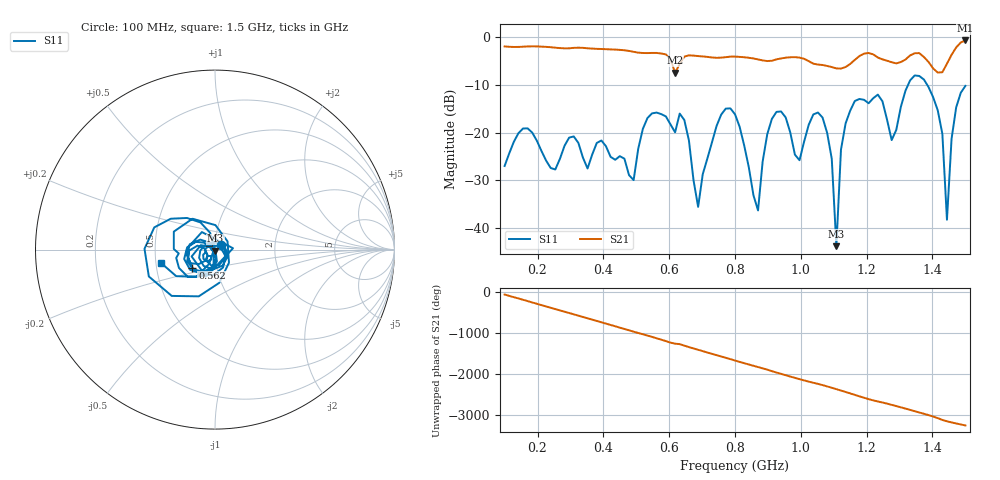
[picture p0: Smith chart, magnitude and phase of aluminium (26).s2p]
! NanoVNA-App
! Date: 2025-09-25 14:55:28
! Start: 100MHz Stop: 1,5GHz Points: 101
! S-Parameter data: F S11 S21 S12 S22
# Hz S RI R 50
!  Frequency  S11_Real  S11_Imag  S21_Real  S21_Imag  S12_Real  S12_Imag  S22_Real  S22_Imag
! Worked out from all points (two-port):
!   101 points, 100 MHz to 1.5 GHz, reference 50 ohm
!   highest |S21| = -0.66 dB at 1.5 GHz (marker M1); lowest = -7.4 dB at 618 MHz (marker M2)
!   |S21| within 3 dB of the highest: start of sweep to 591 MHz; 1.186 GHz to 1.221 GHz (35.92 MHz wide, 2.98 % of centre) (the widest 2 of 4)
!   lowest |S11| = -43.8 dB at 1.108 GHz (marker M3), VSWR 1.01, Z = 50.2 - j0.597 ohm
!   |S11| at or under -10 dB: start of sweep to 1.326 GHz; 1.384 GHz to end of sweep
!   S12 and S22 are empty: the file has one direction only
!   S11 on the Smith chart (normalised r, x): 100 MHz: 1.07, +0.06; 562 MHz: 0.76, -0.16; 1.5 GHz: 0.53, -0.09
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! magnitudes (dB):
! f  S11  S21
! 100 MHz  -27.0  -1.9
! 338 MHz  -25.3  -2.2
! 492 MHz  -30.0  -3.0
! 562 MHz  -15.8  -3.3
! 576 MHz  -16.1  -3.4
! 618 MHz  -19.9  -7.4
! 688 MHz  -35.6  -3.9
! 800 MHz  -16.2  -4.0
! 870 MHz  -36.3  -4.6
! 912 MHz  -17.1  -4.9
! 996 MHz  -25.8  -4.3
! 1.038 GHz  -16.2  -5.5
! 1.094 GHz  -25.5  -6.2
! 1.108 GHz  -43.8  -6.5
! 1.122 GHz  -23.6  -6.6
! 1.164 GHz  -13.4  -4.7
! 1.276 GHz  -21.6  -5.2
! 1.374 GHz  -8.9  -4.1
! 1.43 GHz  -20.2  -7.3
! 1.444 GHz  -38.3  -5.5
! 1.458 GHz  -21.3  -3.7
! 1.5 GHz  -10.2  -0.7
